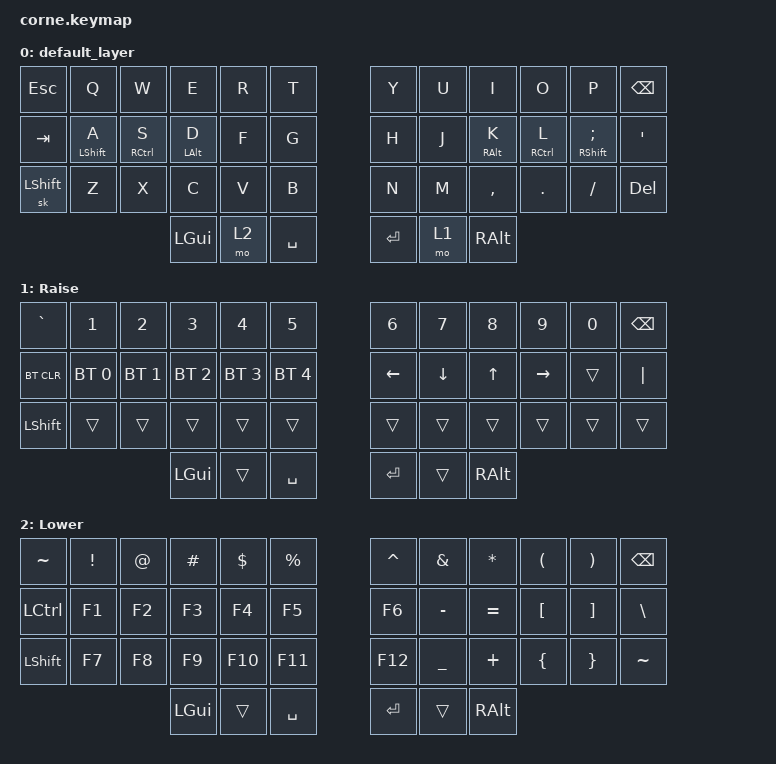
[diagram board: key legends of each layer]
/*
 * Copyright (c) 2020 The ZMK Contributors
 *
 * SPDX-License-Identifier: MIT
 */

#include <behaviors.dtsi>
#include <dt-bindings/zmk/bt.h>
#include <dt-bindings/zmk/keys.h>

/ {
    combos {
        compatible = "zmk,combos";

        left_curly {
            bindings = <&kp LEFT_BRACE>;
            key-positions = <16 15>;
        };

        right_curly {
            bindings = <&kp RIGHT_BRACE>;
            key-positions = <19 20>;
        };

        left_square {
            bindings = <&kp LEFT_BRACKET>;
            key-positions = <27 28>;
        };

        right_square {
            bindings = <&kp RIGHT_BRACKET>;
            key-positions = <31 32>;
        };

        left_parenth {
            bindings = <&kp LEFT_PARENTHESIS>;
            key-positions = <15 16 37>;
        };

        right_parenth {
            bindings = <&kp RIGHT_PARENTHESIS>;
            key-positions = <19 20 40>;
        };
    };

    macros {
        ctrl_alt_delete: ctrl_alt_delete {
            compatible = "zmk,behavior-macro";
            #binding-cells = <0>;
            bindings = <&none>;
            label = "CTRL_ALT_DELETE";
        };
    };

    behaviors {
        hml: hml {
            compatible = "zmk,behavior-hold-tap";
            label = "HML";
            bindings = <&kp>, <&kp>;

            #binding-cells = <2>;
            tapping-term-ms = <280>;
            quick-tap-ms = <175>;
            require-prior-idle-ms = <150>;
            flavor = "balanced";
            hold-trigger-on-release;
            hold-trigger-key-positions = <36 37 38 39 40 41 6 7 8 9 10 11 18 19 20 21 22 23 30 31 32 33 34 35 39 40 41>;
        };

        hmr: hmr {
            compatible = "zmk,behavior-hold-tap";
            label = "HMR";
            bindings = <&kp>, <&kp>;

            #binding-cells = <2>;
            tapping-term-ms = <280>;
            quick-tap-ms = <175>;
            require-prior-idle-ms = <150>;
            flavor = "balanced";
            hold-trigger-on-release;
            hold-trigger-key-positions = <36 37 38 39 40 41 0 1 2 3 4 5 12 13 14 15 16 17 24 25 26 27 28 29>;
        };
    };

    keymap {
        compatible = "zmk,keymap";

        default_layer {
            // -----------------------------------------------------------------------------------------
            // |  TAB |  Q  |  W  |  E  |  R  |  T  |   |  Y  |  U   |  I  |  O  |  P  | BKSP |
            // | CTRL |  A  |  S  |  D  |  F  |  G  |   |  H  |  J   |  K  |  L  |  ;  |  '   |
            // | SHFT |  Z  |  X  |  C  |  V  |  B  |   |  N  |  M   |  ,  |  .  |  /  | ESC  |
            //                    | GUI | LWR | SPC |   | ENT | RSE  | ALT |

            bindings = <
&kp ESCAPE      &kp Q              &kp W         &kp E            &kp R  &kp T        &kp Y    &kp U  &kp I             &kp O         &kp P                       &kp BSPC
&kp TAB         &hml LEFT_SHIFT A  &hml RCTRL S  &hml LEFT_ALT D  &kp F  &kp G        &kp H    &kp J  &hmr RIGHT_ALT K  &hmr RCTRL L  &hmr RIGHT_SHIFT SEMICOLON  &kp SQT
&sk LEFT_SHIFT  &kp Z              &kp X         &kp C            &kp V  &kp B        &kp N    &kp M  &kp COMMA         &kp DOT       &kp FSLH                    &kp DELETE
                                                 &kp LGUI         &mo 2  &kp SPACE    &kp RET  &mo 1  &kp RALT
            >;
        };

        Raise {
            // -----------------------------------------------------------------------------------------
            // |  TAB |  1  |  2  |  3  |  4  |  5  |   |  6  |  7  |  8  |  9  |  0  | BKSP |
            // | BTCLR| BT1 | BT2 | BT3 | BT4 | BT5 |   | LFT | DWN |  UP | RGT |     |      |
            // | SHFT |     |     |     |     |     |   |     |     |     |     |     |      |
            //                    | GUI |     | SPC |   | ENT |     | ALT |

            bindings = <
&kp GRAVE   &kp N1        &kp N2        &kp N3        &kp N4        &kp N5          &kp N6    &kp N7    &kp N8    &kp N9     &kp N0  &kp BACKSPACE
&bt BT_CLR  &bt BT_SEL 0  &bt BT_SEL 1  &bt BT_SEL 2  &bt BT_SEL 3  &bt BT_SEL 4    &kp LEFT  &kp DOWN  &kp UP    &kp RIGHT  &trans  &kp PIPE
&kp LSHFT   &trans        &trans        &trans        &trans        &trans          &trans    &trans    &trans    &trans     &trans  &trans
                                        &kp LGUI      &trans        &kp SPACE       &kp RET   &trans    &kp RALT
            >;
        };

        Lower {
            // -----------------------------------------------------------------------------------------
            // |  TAB |  !  |  @  |  #  |  $  |  %  |   |  ^  |  &  |  *  |  (  |  )  | BKSP |
            // | CTRL |     |     |     |     |     |   |  -  |  =  |  [  |  ]  |  \  |  `   |
            // | SHFT |     |     |     |     |     |   |  _  |  +  |  {  |  }  | "|" |  ~   |
            //                    | GUI |     | SPC |   | ENT |     | ALT |

            bindings = <
&kp TILDE  &kp EXCL  &kp AT  &kp HASH  &kp DLLR  &kp PRCNT    &kp CARET  &kp AMPS   &kp ASTRK  &kp LPAR          &kp RPAR           &kp BSPC
&kp LCTRL  &kp F1    &kp F2  &kp F3    &kp F4    &kp F5       &kp F6     &kp MINUS  &kp EQUAL  &kp LEFT_BRACKET  &kp RIGHT_BRACKET  &kp BACKSLASH
&kp LSHFT  &kp F7    &kp F8  &kp F9    &kp F10   &kp F11      &kp F12    &kp UNDER  &kp PLUS   &kp LEFT_BRACE    &kp RIGHT_BRACE    &kp TILDE
                             &kp LGUI  &trans    &kp SPACE    &kp RET    &trans     &kp RALT
            >;
        };
    };
};
